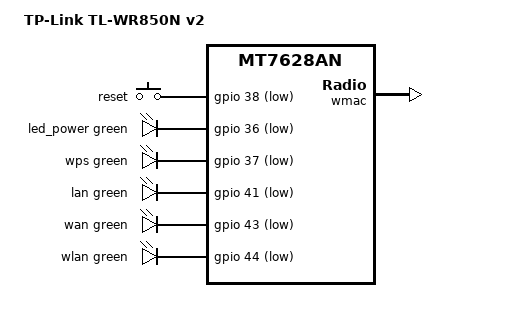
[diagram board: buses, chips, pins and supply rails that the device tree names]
// SPDX-License-Identifier: GPL-2.0-or-later OR MIT

#include <dt-bindings/leds/common.h>

#include "mt7628an_tplink_8m.dtsi"

/ {
	compatible = "tplink,tl-wr850n-v2", "mediatek,mt7628an-soc";
	model = "TP-Link TL-WR850N v2";

	aliases {
		led-boot = &led_power;
		led-failsafe = &led_power;
		led-running = &led_power;
		led-upgrade = &led_power;
	};

	keys {
		compatible = "gpio-keys";

		reset {
			label = "reset";
			gpios = <&gpio 38 GPIO_ACTIVE_LOW>;
			linux,code = <KEY_RESTART>;
		};
	};

	leds {
		compatible = "gpio-leds";

		led_power: power {
			function = LED_FUNCTION_POWER;
			color = <LED_COLOR_ID_GREEN>;
			gpios = <&gpio 36 GPIO_ACTIVE_LOW>;
		};

		wps {
			function = LED_FUNCTION_WPS;
			color = <LED_COLOR_ID_GREEN>;
			gpios = <&gpio 37 GPIO_ACTIVE_LOW>;
		};

		lan {
			function = LED_FUNCTION_LAN;
			color = <LED_COLOR_ID_GREEN>;
			gpios = <&gpio 41 GPIO_ACTIVE_LOW>;
		};

		wan {
			function = LED_FUNCTION_WAN;
			color = <LED_COLOR_ID_GREEN>;
			gpios = <&gpio 43 GPIO_ACTIVE_LOW>;
		};

		wlan {
			function = LED_FUNCTION_WLAN;
			color = <LED_COLOR_ID_GREEN>;
			gpios = <&gpio 44 GPIO_ACTIVE_LOW>;
			linux,default-trigger = "phy0tpt";
		};
	};
};

&ehci {
	status = "disabled";
};

&ohci {
	status = "disabled";
};

&state_default {
	gpio {
		groups = "p0led_an", "p2led_an", "perst", "refclk", "wdt", "wled_an";
		function = "gpio";
	};
};

&wmac {
	status = "okay";

	nvmem-cells = <&eeprom_factory_20000>, <&macaddr_factory_f100 0>;
	nvmem-cell-names = "eeprom", "mac-address";
};

&ethernet {
	nvmem-cells = <&macaddr_factory_f100 0>;
	nvmem-cell-names = "mac-address";
};

&esw {
	mediatek,portmap = <0x3e>;
};
